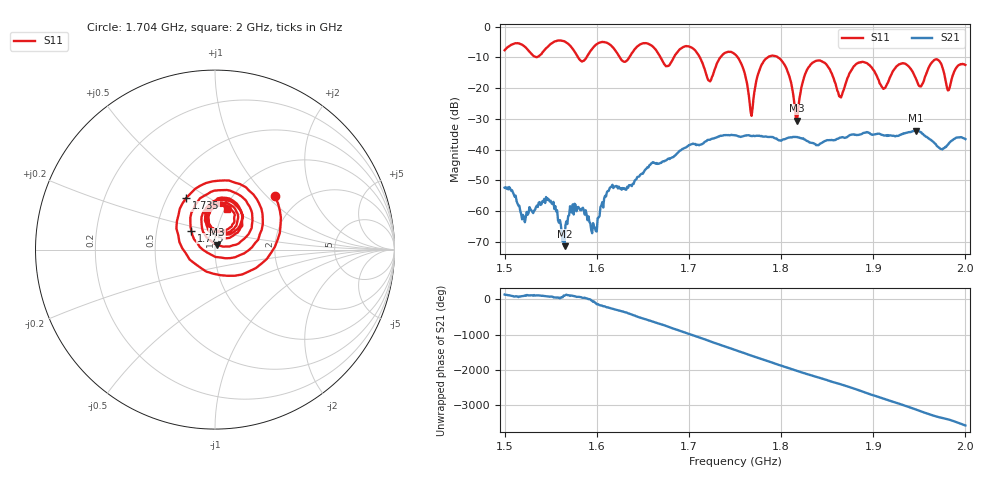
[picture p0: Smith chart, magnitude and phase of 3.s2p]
! NanoVNA-App by SYSJOINT et al v1.1.209 (+OD18)
! Date: 2026-01-21 14:47:07
! Start: 1,5GHz Stop: 2GHz Points: 501
! S-Parameter data: F S11 S21 S12 S22
# Hz S RI R 50
!  Frequency  S11_Real  S11_Imag  S21_Real  S21_Imag  S12_Real  S12_Imag  S22_Real  S22_Imag
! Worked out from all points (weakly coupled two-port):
!   501 points, 1.5 GHz to 2 GHz, reference 50 ohm
!   highest |S21| = -33.80 dB at 1.946 GHz (marker M1); lowest = -71.4 dB at 1.565 GHz (marker M2)
!   lowest |S11| = -30.6 dB at 1.817 GHz (marker M3), VSWR 1.06, Z = 51.1 + j2.8 ohm
!   |S11| at or under -10 dB: 1.712 GHz to 1.734 GHz (22.24 MHz wide, 1.29 % of centre); 1.753 GHz to 1.785 GHz (32.42 MHz wide, 1.83 % of centre); 1.797 GHz to end of sweep (the widest 3 of 6)
!   S12 and S22 are empty: the file has one direction only
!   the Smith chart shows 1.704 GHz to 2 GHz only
!   S11 on the Smith chart (normalised r, x): 1.704 GHz: 1.50, +1.12; 1.735 GHz: 0.62, +0.40; 1.775 GHz: 0.75, +0.16; 2 GHz: 1.02, +0.50
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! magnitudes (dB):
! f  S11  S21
! 1.5 GHz  -7.7  -52.3
! 1.521 GHz  -6.3  -62.2
! 1.549 GHz  -5.9  -56.8
! 1.565 GHz  -4.8  -71.4
! 1.584 GHz  -11.3  -59.1
! 1.598 GHz  -6.2  -65.5
! 1.615 GHz  -6.0  -52.2
! 1.667 GHz  -8.8  -44.6
! 1.704 GHz  -7.0  -38.0
! 1.722 GHz  -17.6  -36.8
! 1.735 GHz  -9.7  -35.5
! 1.75 GHz  -9.0  -35.3
! 1.767 GHz  -27.8  -35.5
! 1.775 GHz  -15.4  -35.5
! 1.799 GHz  -10.5  -36.9
! 1.817 GHz  -30.6  -35.9
! 1.834 GHz  -11.7  -37.8
! 1.864 GHz  -22.8  -36.1
! 1.884 GHz  -11.7  -35.2
! 1.917 GHz  -17.3  -35.4
! 1.946 GHz  -16.7  -33.8
! 2 GHz  -12.5  -36.6
